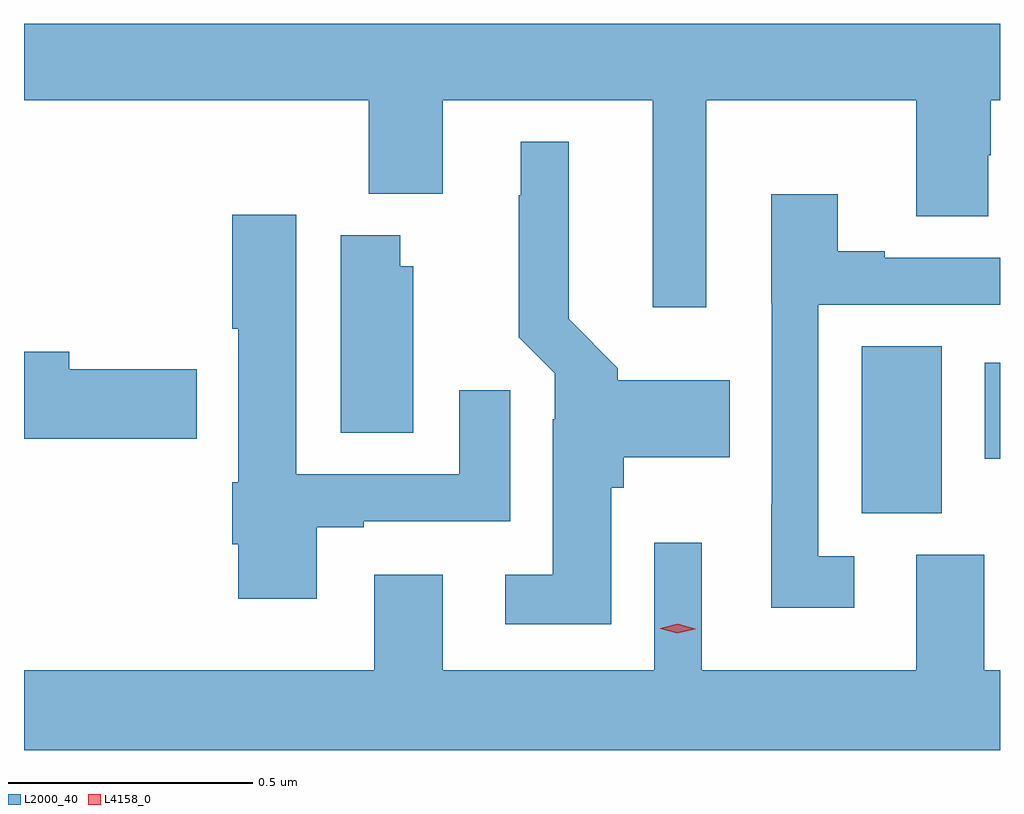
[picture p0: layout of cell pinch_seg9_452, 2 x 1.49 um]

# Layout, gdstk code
import gdstk
lib = gdstk.Library(unit=1e-6, precision=1e-09)
def R(c, l, rs):  # rectangles x0, y0, x1, y1
    for r in rs: c.add(gdstk.rectangle(r[:2], r[2:], *l))
def P(c, l, *ps):  # polygons
    for p in ps: c.add(gdstk.Polygon(p, *l))
L2000_40 = (2000, 40)
L4158_0 = (4158, 0)

pinch_seg9_452 = lib.new_cell('pinch_seg9_452')
R(pinch_seg9_452, L2000_40, [(184.856,1211.557,185.02,1211.9), (185.108,1211.669,185.139,1211.866)])
P(pinch_seg9_452, L2000_40, [(184.537,1212.404),(184.967,1212.404),(184.967,1212.166),(185.115,1212.166),(185.115,1212.291),(185.12,1212.291),(185.12,1212.404),(185.139,1212.404),(185.139,1212.56),(183.139,1212.56),(183.139,1212.404),(183.845,1212.404),(183.845,1212.212),(183.997,1212.212),(183.997,1212.404),(184.427,1212.404),(184.427,1211.979),(184.537,1211.979)],
  [(184.342,1211.61),(184.368,1211.61),(184.368,1211.672),(184.585,1211.672),(184.585,1211.83),(184.356,1211.83),(184.356,1211.854),(184.255,1211.956),(184.255,1212.319),(184.157,1212.319),(184.157,1212.209),(184.153,1212.209),(184.153,1211.918),(184.227,1211.844),(184.227,1211.75),(184.223,1211.75),(184.223,1211.431),(184.125,1211.431),(184.125,1211.33),(184.342,1211.33)],
  [(184.84,1211.469),(184.767,1211.469),(184.767,1211.985),(185.139,1211.985),(185.139,1212.081),(184.903,1212.081),(184.903,1212.094),(184.807,1212.094),(184.807,1212.211),(184.67,1212.211),(184.67,1211.988),(184.671,1211.988),(184.671,1211.576),(184.67,1211.576),(184.67,1211.364),(184.84,1211.364)],
  [(183.739,1211.529),(183.835,1211.529),(183.835,1211.541),(184.135,1211.541),(184.135,1211.809),(184.031,1211.809),(184.031,1211.637),(183.697,1211.637),(183.697,1212.169),(183.566,1212.169),(183.566,1211.935),(183.578,1211.935),(183.578,1211.621),(183.566,1211.621),(183.566,1211.494),(183.578,1211.494),(183.578,1211.382),(183.739,1211.382)],
  [(183.937,1212.063),(183.91,1212.063),(183.91,1212.127),(183.788,1212.127),(183.788,1211.722),(183.937,1211.722)],
  [(183.493,1211.852),(183.232,1211.852),(183.232,1211.888),(183.139,1211.888),(183.139,1211.71),(183.493,1211.71)],
  [(185.139,1211.236),(185.107,1211.236),(185.107,1211.472),(184.967,1211.472),(184.967,1211.236),(184.528,1211.236),(184.528,1211.497),(184.431,1211.497),(184.431,1211.236),(183.997,1211.236),(183.997,1211.431),(183.857,1211.431),(183.857,1211.236),(183.139,1211.236),(183.139,1211.072),(185.139,1211.072)])
P(pinch_seg9_452, L4158_0, [(184.478,1211.311),(184.443,1211.321),(184.443,1211.322),(184.443,1211.322),(184.479,1211.331),(184.514,1211.321),(184.514,1211.321),(184.514,1211.32)])

lib.write_gds('pinch_seg9_452.gds')
